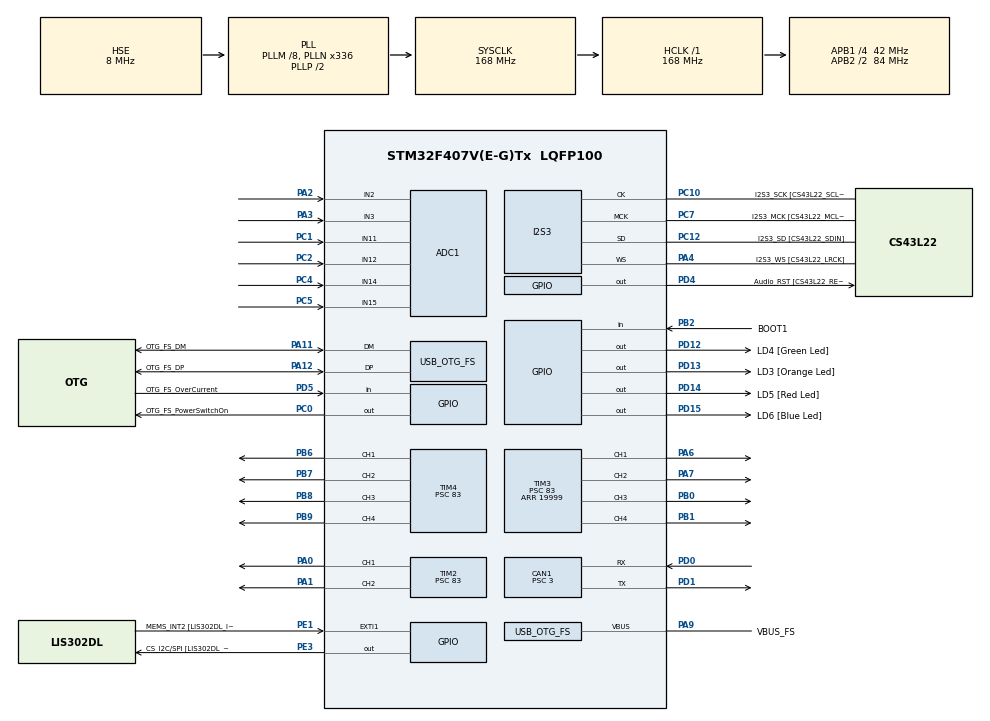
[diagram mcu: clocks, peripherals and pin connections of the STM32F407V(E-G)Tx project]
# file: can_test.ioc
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ADC1.Channel-0\#ChannelRegularConversion=ADC_CHANNEL_11
ADC1.NbrOfConversionFlag=1
ADC1.Rank-0\#ChannelRegularConversion=1
ADC1.SamplingTime-0\#ChannelRegularConversion=ADC_SAMPLETIME_3CYCLES
ADC1.master=1
CAN1.BS1=CAN_BS1_11TQ
CAN1.BS2=CAN_BS2_2TQ
CAN1.CalculateBaudRate=1000000
CAN1.CalculateTimeBit=1000
CAN1.CalculateTimeQuantum=71.42857142857143
CAN1.Prescaler=3
I2S3.AudioFreq-Half_Duplex_Master=I2S_AUDIOFREQ_96K
I2S3.ErrorAudioFreq=-2.34 %
I2S3.ErrorAudioFreq-Half_Duplex_Master=0.8 %
I2S3.FullDuplexMode=I2S_FULLDUPLEXMODE_DISABLE
I2S3.Instance=SPI$Index
I2S3.RealAudioFreq=93.75 KHz
I2S3.RealAudioFreq-Half_Duplex_Master=96.774 KHz
I2S3.VirtualMode=I2S_MODE_MASTER
Mcu.Family=STM32F4
Mcu.Name=STM32F407V(E-G)Tx
Mcu.Package=LQFP100
NVIC.CAN1_RX0_IRQn=true\:0\:0\:false\:false\:true\:true\:true\:true
NVIC.OTG_FS_IRQn=true\:0\:0\:false\:false\:true\:true\:true\:true
NVIC.PriorityGroup=NVIC_PRIORITYGROUP_0
PA0-WKUP.Signal=S_TIM2_CH1_ETR
PA1.Signal=S_TIM2_CH2
PA10.GPIO_Label=OTG_FS_ID
PA10.GPIO_Mode=GPIO_MODE_AF_PP
PA10.GPIO_PuPd=GPIO_NOPULL
PA10.GPIO_Speed=GPIO_SPEED_FREQ_LOW
PA10.Signal=USB_OTG_FS_ID
PA11.GPIO_Label=OTG_FS_DM
PA11.GPIO_Mode=GPIO_MODE_AF_PP
PA11.GPIO_PuPd=GPIO_NOPULL
PA11.GPIO_Speed=GPIO_SPEED_FREQ_LOW
PA11.Mode=Host_Only
PA11.Signal=USB_OTG_FS_DM
PA12.GPIO_Label=OTG_FS_DP
PA12.GPIO_Mode=GPIO_MODE_AF_PP
PA12.GPIO_PuPd=GPIO_NOPULL
PA12.GPIO_Speed=GPIO_SPEED_FREQ_LOW
PA12.Mode=Host_Only
PA12.Signal=USB_OTG_FS_DP
PA13.GPIO_Label=SWDIO
PA13.Mode=Serial_Wire
PA13.Signal=SYS_JTMS-SWDIO
PA14.GPIO_Label=SWCLK
PA14.Mode=Serial_Wire
PA14.Signal=SYS_JTCK-SWCLK
PA2.Signal=ADCx_IN2
PA3.Signal=ADCx_IN3
PA4.GPIO_Label=I2S3_WS [CS43L22_LRCK]
PA4.GPIO_Mode=GPIO_MODE_AF_PP
PA4.GPIO_PuPd=GPIO_NOPULL
PA4.GPIO_Speed=GPIO_SPEED_FREQ_LOW
PA4.Mode=Half_Duplex_Master
PA4.Signal=I2S3_WS
PA5.GPIO_Label=SPI1_SCK [LIS302DL_SCL/SPC]
PA5.GPIO_Mode=GPIO_MODE_AF_PP
PA5.GPIO_PuPd=GPIO_NOPULL
PA5.GPIO_Speed=GPIO_SPEED_FREQ_LOW
PA5.Signal=SPI1_SCK
PA6.Signal=S_TIM3_CH1
PA7.Signal=S_TIM3_CH2
PA9.GPIO_Label=VBUS_FS
PA9.GPIO_Mode=GPIO_MODE_INPUT
PA9.GPIO_PuPd=GPIO_NOPULL
PA9.Mode=Activate_VBUS
PA9.Signal=USB_OTG_FS_VBUS
PB0.Signal=S_TIM3_CH3
PB1.Signal=S_TIM3_CH4
PB10.GPIO_Label=CLK_IN [MP45DT02_CLK]
PB10.GPIO_Mode=GPIO_MODE_AF_PP
PB10.GPIO_PuPd=GPIO_NOPULL
PB10.GPIO_Speed=GPIO_SPEED_FREQ_LOW
PB10.Signal=I2S2_CK
PB2.GPIO_Label=BOOT1
PB2.GPIO_Mode=GPIO_MODE_INPUT
PB2.GPIO_PuPd=GPIO_NOPULL
PB2.Signal=GPIO_Input
PB3.GPIO_Label=SWO
PB3.Signal=SYS_JTDO-SWO
PB6.Signal=S_TIM4_CH1
PB7.Signal=S_TIM4_CH2
PB8.Signal=S_TIM4_CH3
PB9.Signal=S_TIM4_CH4
PC0.GPIO_Label=OTG_FS_PowerSwitchOn
PC0.GPIO_PuPd=GPIO_NOPULL
PC0.GPIO_Speed=GPIO_SPEED_FREQ_LOW
PC0.PinState=GPIO_PIN_SET
PC0.Signal=GPIO_Output
PC1.Signal=ADCx_IN11
PC10.GPIO_Label=I2S3_SCK [CS43L22_SCLK]
PC10.GPIO_Mode=GPIO_MODE_AF_PP
PC10.GPIO_PuPd=GPIO_NOPULL
PC10.GPIO_Speed=GPIO_SPEED_FREQ_LOW
PC10.Mode=Half_Duplex_Master
PC10.Signal=I2S3_CK
PC12.GPIO_Label=I2S3_SD [CS43L22_SDIN]
PC12.GPIO_Mode=GPIO_MODE_AF_PP
PC12.GPIO_PuPd=GPIO_NOPULL
PC12.GPIO_Speed=GPIO_SPEED_FREQ_LOW
PC12.Mode=Half_Duplex_Master
PC12.Signal=I2S3_SD
PC14-OSC32_IN.GPIO_Label=PC14-OSC32_IN
PC14-OSC32_IN.Mode=LSE-External-Oscillator
PC14-OSC32_IN.Signal=RCC_OSC32_IN
PC15-OSC32_OUT.GPIO_Label=PC15-OSC32_OUT
PC15-OSC32_OUT.Mode=LSE-External-Oscillator
PC15-OSC32_OUT.Signal=RCC_OSC32_OUT
PC2.Signal=ADCx_IN12
PC3.GPIO_Label=PDM_OUT [MP45DT02_DOUT]
PC3.GPIO_Mode=GPIO_MODE_AF_PP
PC3.GPIO_PuPd=GPIO_NOPULL
PC3.GPIO_Speed=GPIO_SPEED_FREQ_LOW
PC3.Signal=I2S2_SD
PC4.Signal=ADCx_IN14
PC5.Signal=ADCx_IN15
PC7.GPIO_Label=I2S3_MCK [CS43L22_MCLK]
PC7.GPIO_Mode=GPIO_MODE_AF_PP
PC7.GPIO_PuPd=GPIO_NOPULL
PC7.GPIO_Speed=GPIO_SPEED_FREQ_LOW
PC7.Mode=Master_Clock_Activated
PC7.Signal=I2S3_MCK
PD0.Mode=CAN_Activate
PD0.Signal=CAN1_RX
PD1.Mode=CAN_Activate
PD1.Signal=CAN1_TX
PD12.GPIO_Label=LD4 [Green Led]
PD12.GPIO_PuPd=GPIO_NOPULL
PD12.GPIO_Speed=GPIO_SPEED_FREQ_LOW
PD12.Signal=GPIO_Output
PD13.GPIO_Label=LD3 [Orange Led]
PD13.GPIO_PuPd=GPIO_NOPULL
PD13.GPIO_Speed=GPIO_SPEED_FREQ_LOW
PD13.Signal=GPIO_Output
PD14.GPIO_Label=LD5 [Red Led]
PD14.GPIO_PuPd=GPIO_NOPULL
PD14.GPIO_Speed=GPIO_SPEED_FREQ_LOW
PD14.Signal=GPIO_Output
PD15.GPIO_Label=LD6 [Blue Led]
PD15.GPIO_PuPd=GPIO_NOPULL
PD15.GPIO_Speed=GPIO_SPEED_FREQ_LOW
PD15.Signal=GPIO_Output
PD4.GPIO_Label=Audio_RST [CS43L22_RESET]
PD4.GPIO_PuPd=GPIO_NOPULL
PD4.GPIO_Speed=GPIO_SPEED_FREQ_LOW
PD4.Signal=GPIO_Output
PD5.GPIO_Label=OTG_FS_OverCurrent
PD5.GPIO_Mode=GPIO_MODE_INPUT
PD5.GPIO_PuPd=GPIO_NOPULL
PD5.Signal=GPIO_Input
PE1.GPIO_Label=MEMS_INT2 [LIS302DL_INT2]
PE1.GPIO_ModeDefaultEXTI=GPIO_MODE_EVT_RISING
PE1.GPIO_PuPd=GPIO_NOPULL
PE1.Signal=GPXTI1
PE3.GPIO_Label=CS_I2C/SPI [LIS302DL_CS_I2C/SPI]
PE3.GPIO_PuPd=GPIO_NOPULL
PE3.GPIO_Speed=GPIO_SPEED_FREQ_LOW
PE3.Signal=GPIO_Output
PH0-OSC_IN.GPIO_Label=PH0-OSC_IN
PH0-OSC_IN.Mode=HSE-External-Oscillator
PH0-OSC_IN.Signal=RCC_OSC_IN
PH1-OSC_OUT.GPIO_Label=PH1-OSC_OUT
PH1-OSC_OUT.Mode=HSE-External-Oscillator
PH1-OSC_OUT.Signal=RCC_OSC_OUT
ProjectManager.HeapSize=0x200
ProjectManager.StackSize=0x400
ProjectManager.TargetToolchain=STM32CubeIDE
RCC.48MHZClocksFreq_Value=48000000
RCC.AHBFreq_Value=168000000
RCC.APB1CLKDivider=RCC_HCLK_DIV4
RCC.APB1Freq_Value=42000000
RCC.APB1TimFreq_Value=84000000
RCC.APB2CLKDivider=RCC_HCLK_DIV2
RCC.APB2Freq_Value=84000000
RCC.APB2TimFreq_Value=168000000
RCC.CortexFreq_Value=168000000
RCC.HCLKFreq_Value=168000000
RCC.HSE_VALUE=8000000
RCC.HSI_VALUE=16000000
RCC.PLLM=8
RCC.PLLN=336
RCC.PLLQ=7
RCC.SYSCLKFreq_VALUE=168000000
RCC.SYSCLKSource=RCC_SYSCLKSOURCE_PLLCLK
RCC.VCOOutputFreq_Value=336000000
SH.ADCx_IN11.0=ADC1_IN11,IN11
SH.ADCx_IN12.0=ADC1_IN12,IN12
SH.ADCx_IN14.0=ADC1_IN14,IN14
SH.ADCx_IN15.0=ADC1_IN15,IN15
SH.ADCx_IN2.0=ADC1_IN2,IN2
SH.ADCx_IN3.0=ADC1_IN3,IN3
SH.S_TIM2_CH1_ETR.0=TIM2_CH1,PWM Generation1 CH1
SH.S_TIM2_CH2.0=TIM2_CH2,PWM Generation2 CH2
SH.S_TIM3_CH1.0=TIM3_CH1,PWM Generation1 CH1
SH.S_TIM3_CH2.0=TIM3_CH2,PWM Generation2 CH2
SH.S_TIM3_CH3.0=TIM3_CH3,PWM Generation3 CH3
SH.S_TIM3_CH4.0=TIM3_CH4,PWM Generation4 CH4
SH.S_TIM4_CH1.0=TIM4_CH1,PWM Generation1 CH1
SH.S_TIM4_CH2.0=TIM4_CH2,PWM Generation2 CH2
SH.S_TIM4_CH3.0=TIM4_CH3,PWM Generation3 CH3
SH.S_TIM4_CH4.0=TIM4_CH4,PWM Generation4 CH4
TIM2.Channel-PWM\ Generation1\ CH1=TIM_CHANNEL_1
TIM2.Channel-PWM\ Generation2\ CH2=TIM_CHANNEL_2
TIM2.Period=19999
TIM2.Prescaler=83
TIM3.Channel-PWM\ Generation1\ CH1=TIM_CHANNEL_1
TIM3.Channel-PWM\ Generation2\ CH2=TIM_CHANNEL_2
TIM3.Channel-PWM\ Generation3\ CH3=TIM_CHANNEL_3
TIM3.Channel-PWM\ Generation4\ CH4=TIM_CHANNEL_4
TIM3.Period=19999
TIM3.Prescaler=83
TIM4.Channel-PWM\ Generation1\ CH1=TIM_CHANNEL_1
TIM4.Channel-PWM\ Generation2\ CH2=TIM_CHANNEL_2
TIM4.Channel-PWM\ Generation3\ CH3=TIM_CHANNEL_3
TIM4.Channel-PWM\ Generation4\ CH4=TIM_CHANNEL_4
TIM4.Prescaler=83
USB_HOST.BSP.number=1
USB_HOST.USBH_HandleTypeDef-CDC_FS=hUsbHostFS
USB_HOST.VirtualModeFS=Cdc
USB_HOST0.BSP.STBoard=false
USB_HOST0.BSP.api=Unknown
USB_HOST0.BSP.instance=PC0
USB_HOST0.BSP.ip=GPIO
USB_HOST0.BSP.mode=Output
USB_HOST0.BSP.name=Drive_VBUS_FS
USB_HOST0.BSP.solution=PC0
USB_OTG_FS.VirtualMode=Host_Only
USB_OTG_FS.phy_itface=HCD_PHY_EMBEDDED
VP_USB_HOST_VS_USB_HOST_CDC_FS.Mode=CDC_FS
board=STM32F407G-DISC1

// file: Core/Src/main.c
/* USER CODE BEGIN Header */
/**
  ******************************************************************************
  * @file           : main.c
  * @brief          : Main program body
  ******************************************************************************
  * @attention
  *
  * Copyright (c) 2026 STMicroelectronics.
  * All rights reserved.
  *
  * This software is licensed under terms that can be found in the LICENSE file
  * in the root directory of this software component.
  * If no LICENSE file comes with this software, it is provided AS-IS.
  *
  ******************************************************************************
  */
/* USER CODE END Header */
#include "main.h"
#include "usb_host.h"

ADC_HandleTypeDef hadc1;

CAN_HandleTypeDef hcan1;

I2S_HandleTypeDef hi2s3;

TIM_HandleTypeDef htim2;
TIM_HandleTypeDef htim3;
TIM_HandleTypeDef htim4;

void SystemClock_Config(void);
static void MX_GPIO_Init(void);
static void MX_I2S3_Init(void);
static void MX_CAN1_Init(void);
static void MX_ADC1_Init(void);
static void MX_TIM2_Init(void);
static void MX_TIM3_Init(void);
static void MX_TIM4_Init(void);
void MX_USB_HOST_Process(void);

/* USER CODE BEGIN 0 */
CAN_FilterTypeDef sFilterConfig;
CAN_TxHeaderTypeDef TxMessage;
CAN_RxHeaderTypeDef RxMessage;
uint8_t               TxData[8];
uint8_t               RxData[8];
uint32_t              TxMailbox;

//main에서 1회 호출
void Can_Set(){
	sFilterConfig.FilterBank= 0;
	sFilterConfig.FilterMode= CAN_FILTERMODE_IDMASK;
	sFilterConfig.FilterScale= CAN_FILTERSCALE_32BIT;
	sFilterConfig.FilterIdHigh= 0x0000;
	sFilterConfig.FilterIdLow= 0x0000;
	sFilterConfig.FilterMaskIdHigh= 0x0000;
	sFilterConfig.FilterMaskIdLow= 0x0000;
	sFilterConfig.FilterFIFOAssignment= CAN_RX_FIFO0;
	sFilterConfig.FilterActivation= ENABLE;
	sFilterConfig.SlaveStartFilterBank = 14;
	HAL_CAN_ConfigFilter(&hcan1, &sFilterConfig);
	HAL_CAN_ActivateNotification(&hcan1, CAN_IT_RX_FIFO0_MSG_PENDING);
	HAL_CAN_Start(&hcan1);
}
//수신  (MX에서 인터럽트 설정 해야함)
void HAL_CAN_RxFifo0MsgPendingCallback(CAN_HandleTypeDef *hcan1)
{
	HAL_CAN_GetRxMessage(hcan1, CAN_RX_FIFO0, &RxMessage, RxData);

	//RxMessage.StdId : CAN ID
	//RxMessage.RTR : CAN_RTR_DATA or CAN_RTR_REMOTE
	//RxMessage.IDE : CAN_ID_STD or CAN_ID_EXT
	//RxMessage.DLC : length
	if(RxMessage.DLC ==  10 && RxData[9] == 15){
		HAL_GPIO_TogglePin(LD3_GPIO_Port,LD3_Pin);
		HAL_GPIO_TogglePin(LD4_GPIO_Port,LD4_Pin);
		HAL_GPIO_TogglePin(LD5_GPIO_Port,LD5_Pin);
		HAL_GPIO_TogglePin(LD6_GPIO_Port,LD6_Pin);
	}
	//RxData : data

}

/* USER CODE END 0 */

int main(void)
{

  /* MCU Configuration--------------------------------------------------------*/

  /* Reset of all peripherals, Initializes the Flash interface and the Systick. */
  HAL_Init();

  /* Configure the system clock */
  SystemClock_Config();

  /* Initialize all configured peripherals */
  MX_GPIO_Init();
  MX_I2S3_Init();
  MX_USB_HOST_Init();
  MX_CAN1_Init();
  MX_ADC1_Init();
  MX_TIM2_Init();
  MX_TIM3_Init();
  MX_TIM4_Init();
  /* USER CODE BEGIN 2 */
  Can_Set();

  /* USER CODE END 2 */

  /* Infinite loop */
  /* USER CODE BEGIN WHILE */
  while (1)
  {
	  TxMessage.DLC = 8; //데이터길이
	 	  TxMessage.ExtId = 0;
	 	  TxMessage.IDE = CAN_ID_STD;
	 	  TxMessage.RTR = CAN_RTR_DATA;
	 	  TxMessage.StdId = 0x123; //0x000 ~ 0x7FF
	 	  TxMessage.TransmitGlobalTime = DISABLE;
	 	  TxData[0] = 1;
	 	  TxData[1] = 2;
	 	  TxData[2] = 3;
	 	  TxData[3] = 4;
	 	  TxData[5] = 5;
	 	  TxData[6] = 6;
	 	  TxData[7] = 7;
	 	  HAL_CAN_AddTxMessage(&hcan1, &TxMessage, TxData, &TxMailbox);
	 	  HAL_Delay(1000);

    /* USER CODE END WHILE */
    MX_USB_HOST_Process();

  }
}

void SystemClock_Config(void)
{
  RCC_OscInitTypeDef RCC_OscInitStruct = {0};
  RCC_ClkInitTypeDef RCC_ClkInitStruct = {0};

  /** Configure the main internal regulator output voltage
  */
  __HAL_RCC_PWR_CLK_ENABLE();
  __HAL_PWR_VOLTAGESCALING_CONFIG(PWR_REGULATOR_VOLTAGE_SCALE1);

  /** Initializes the RCC Oscillators according to the specified parameters
  * in the RCC_OscInitTypeDef structure.
  */
  RCC_OscInitStruct.OscillatorType = RCC_OSCILLATORTYPE_HSE;
  RCC_OscInitStruct.HSEState = RCC_HSE_ON;
  RCC_OscInitStruct.PLL.PLLState = RCC_PLL_ON;
  RCC_OscInitStruct.PLL.PLLSource = RCC_PLLSOURCE_HSE;
  RCC_OscInitStruct.PLL.PLLM = 8;
  RCC_OscInitStruct.PLL.PLLN = 336;
  RCC_OscInitStruct.PLL.PLLP = RCC_PLLP_DIV2;
  RCC_OscInitStruct.PLL.PLLQ = 7;
  if (HAL_RCC_OscConfig(&RCC_OscInitStruct) != HAL_OK)
  {
    Error_Handler();
  }

  /** Initializes the CPU, AHB and APB buses clocks
  */
  RCC_ClkInitStruct.ClockType = RCC_CLOCKTYPE_HCLK|RCC_CLOCKTYPE_SYSCLK
                              |RCC_CLOCKTYPE_PCLK1|RCC_CLOCKTYPE_PCLK2;
  RCC_ClkInitStruct.SYSCLKSource = RCC_SYSCLKSOURCE_PLLCLK;
  RCC_ClkInitStruct.AHBCLKDivider = RCC_SYSCLK_DIV1;
  RCC_ClkInitStruct.APB1CLKDivider = RCC_HCLK_DIV4;
  RCC_ClkInitStruct.APB2CLKDivider = RCC_HCLK_DIV2;

  if (HAL_RCC_ClockConfig(&RCC_ClkInitStruct, FLASH_LATENCY_5) != HAL_OK)
  {
    Error_Handler();
  }
}

static void MX_ADC1_Init(void)
{

  ADC_ChannelConfTypeDef sConfig = {0};

  /** Configure the global features of the ADC (Clock, Resolution, Data Alignment and number of conversion)
  */
  hadc1.Instance = ADC1;
  hadc1.Init.ClockPrescaler = ADC_CLOCK_SYNC_PCLK_DIV4;
  hadc1.Init.Resolution = ADC_RESOLUTION_12B;
  hadc1.Init.ScanConvMode = DISABLE;
  hadc1.Init.ContinuousConvMode = DISABLE;
  hadc1.Init.DiscontinuousConvMode = DISABLE;
  hadc1.Init.ExternalTrigConvEdge = ADC_EXTERNALTRIGCONVEDGE_NONE;
  hadc1.Init.ExternalTrigConv = ADC_SOFTWARE_START;
  hadc1.Init.DataAlign = ADC_DATAALIGN_RIGHT;
  hadc1.Init.NbrOfConversion = 1;
  hadc1.Init.DMAContinuousRequests = DISABLE;
  hadc1.Init.EOCSelection = ADC_EOC_SINGLE_CONV;
  if (HAL_ADC_Init(&hadc1) != HAL_OK)
  {
    Error_Handler();
  }

  /** Configure for the selected ADC regular channel its corresponding rank in the sequencer and its sample time.
  */
  sConfig.Channel = ADC_CHANNEL_11;
  sConfig.Rank = 1;
  sConfig.SamplingTime = ADC_SAMPLETIME_3CYCLES;
  if (HAL_ADC_ConfigChannel(&hadc1, &sConfig) != HAL_OK)
  {
    Error_Handler();
  }

}

static void MX_CAN1_Init(void)
{

  hcan1.Instance = CAN1;
  hcan1.Init.Prescaler = 3;
  hcan1.Init.Mode = CAN_MODE_NORMAL;
  hcan1.Init.SyncJumpWidth = CAN_SJW_1TQ;
  hcan1.Init.TimeSeg1 = CAN_BS1_11TQ;
  hcan1.Init.TimeSeg2 = CAN_BS2_2TQ;
  hcan1.Init.TimeTriggeredMode = DISABLE;
  hcan1.Init.AutoBusOff = DISABLE;
  hcan1.Init.AutoWakeUp = DISABLE;
  hcan1.Init.AutoRetransmission = DISABLE;
  hcan1.Init.ReceiveFifoLocked = DISABLE;
  hcan1.Init.TransmitFifoPriority = DISABLE;
  if (HAL_CAN_Init(&hcan1) != HAL_OK)
  {
    Error_Handler();
  }

}

static void MX_I2S3_Init(void)
{

  hi2s3.Instance = SPI3;
  hi2s3.Init.Mode = I2S_MODE_MASTER_TX;
  hi2s3.Init.Standard = I2S_STANDARD_PHILIPS;
  hi2s3.Init.DataFormat = I2S_DATAFORMAT_16B;
  hi2s3.Init.MCLKOutput = I2S_MCLKOUTPUT_ENABLE;
  hi2s3.Init.AudioFreq = I2S_AUDIOFREQ_96K;
  hi2s3.Init.CPOL = I2S_CPOL_LOW;
  hi2s3.Init.ClockSource = I2S_CLOCK_PLL;
  hi2s3.Init.FullDuplexMode = I2S_FULLDUPLEXMODE_DISABLE;
  if (HAL_I2S_Init(&hi2s3) != HAL_OK)
  {
    Error_Handler();
  }

}

static void MX_TIM2_Init(void)
{

  TIM_MasterConfigTypeDef sMasterConfig = {0};
  TIM_OC_InitTypeDef sConfigOC = {0};

  htim2.Instance = TIM2;
  htim2.Init.Prescaler = 83;
  htim2.Init.CounterMode = TIM_COUNTERMODE_UP;
  htim2.Init.Period = 19999;
  htim2.Init.ClockDivision = TIM_CLOCKDIVISION_DIV1;
  htim2.Init.AutoReloadPreload = TIM_AUTORELOAD_PRELOAD_DISABLE;
  if (HAL_TIM_PWM_Init(&htim2) != HAL_OK)
  {
    Error_Handler();
  }
  sMasterConfig.MasterOutputTrigger = TIM_TRGO_RESET;
  sMasterConfig.MasterSlaveMode = TIM_MASTERSLAVEMODE_DISABLE;
  if (HAL_TIMEx_MasterConfigSynchronization(&htim2, &sMasterConfig) != HAL_OK)
  {
    Error_Handler();
  }
  sConfigOC.OCMode = TIM_OCMODE_PWM1;
  sConfigOC.Pulse = 0;
  sConfigOC.OCPolarity = TIM_OCPOLARITY_HIGH;
  sConfigOC.OCFastMode = TIM_OCFAST_DISABLE;
  if (HAL_TIM_PWM_ConfigChannel(&htim2, &sConfigOC, TIM_CHANNEL_1) != HAL_OK)
  {
    Error_Handler();
  }
  if (HAL_TIM_PWM_ConfigChannel(&htim2, &sConfigOC, TIM_CHANNEL_2) != HAL_OK)
  {
    Error_Handler();
  }
  HAL_TIM_MspPostInit(&htim2);

}

static void MX_TIM3_Init(void)
{

  TIM_MasterConfigTypeDef sMasterConfig = {0};
  TIM_OC_InitTypeDef sConfigOC = {0};

  htim3.Instance = TIM3;
  htim3.Init.Prescaler = 83;
  htim3.Init.CounterMode = TIM_COUNTERMODE_UP;
  htim3.Init.Period = 19999;
  htim3.Init.ClockDivision = TIM_CLOCKDIVISION_DIV1;
  htim3.Init.AutoReloadPreload = TIM_AUTORELOAD_PRELOAD_DISABLE;
  if (HAL_TIM_PWM_Init(&htim3) != HAL_OK)
  {
    Error_Handler();
  }
  sMasterConfig.MasterOutputTrigger = TIM_TRGO_RESET;
  sMasterConfig.MasterSlaveMode = TIM_MASTERSLAVEMODE_DISABLE;
  if (HAL_TIMEx_MasterConfigSynchronization(&htim3, &sMasterConfig) != HAL_OK)
  {
    Error_Handler();
  }
  sConfigOC.OCMode = TIM_OCMODE_PWM1;
  sConfigOC.Pulse = 0;
  sConfigOC.OCPolarity = TIM_OCPOLARITY_HIGH;
  sConfigOC.OCFastMode = TIM_OCFAST_DISABLE;
  if (HAL_TIM_PWM_ConfigChannel(&htim3, &sConfigOC, TIM_CHANNEL_1) != HAL_OK)
  {
    Error_Handler();
  }
  if (HAL_TIM_PWM_ConfigChannel(&htim3, &sConfigOC, TIM_CHANNEL_2) != HAL_OK)
  {
    Error_Handler();
  }
  if (HAL_TIM_PWM_ConfigChannel(&htim3, &sConfigOC, TIM_CHANNEL_3) != HAL_OK)
  {
    Error_Handler();
  }
  if (HAL_TIM_PWM_ConfigChannel(&htim3, &sConfigOC, TIM_CHANNEL_4) != HAL_OK)
  {
    Error_Handler();
  }
  HAL_TIM_MspPostInit(&htim3);

}

static void MX_TIM4_Init(void)
{

  TIM_MasterConfigTypeDef sMasterConfig = {0};
  TIM_OC_InitTypeDef sConfigOC = {0};

  htim4.Instance = TIM4;
  htim4.Init.Prescaler = 83;
  htim4.Init.CounterMode = TIM_COUNTERMODE_UP;
  htim4.Init.Period = 19999;
  htim4.Init.ClockDivision = TIM_CLOCKDIVISION_DIV1;
  htim4.Init.AutoReloadPreload = TIM_AUTORELOAD_PRELOAD_DISABLE;
  if (HAL_TIM_PWM_Init(&htim4) != HAL_OK)
  {
    Error_Handler();
  }
  sMasterConfig.MasterOutputTrigger = TIM_TRGO_RESET;
  sMasterConfig.MasterSlaveMode = TIM_MASTERSLAVEMODE_DISABLE;
  if (HAL_TIMEx_MasterConfigSynchronization(&htim4, &sMasterConfig) != HAL_OK)
  {
    Error_Handler();
  }
  sConfigOC.OCMode = TIM_OCMODE_PWM1;
  sConfigOC.Pulse = 0;
  sConfigOC.OCPolarity = TIM_OCPOLARITY_HIGH;
  sConfigOC.OCFastMode = TIM_OCFAST_DISABLE;
  if (HAL_TIM_PWM_ConfigChannel(&htim4, &sConfigOC, TIM_CHANNEL_1) != HAL_OK)
  {
    Error_Handler();
  }
  if (HAL_TIM_PWM_ConfigChannel(&htim4, &sConfigOC, TIM_CHANNEL_2) != HAL_OK)
  {
    Error_Handler();
  }
  if (HAL_TIM_PWM_ConfigChannel(&htim4, &sConfigOC, TIM_CHANNEL_3) != HAL_OK)
  {
    Error_Handler();
  }
  if (HAL_TIM_PWM_ConfigChannel(&htim4, &sConfigOC, TIM_CHANNEL_4) != HAL_OK)
  {
    Error_Handler();
  }
  HAL_TIM_MspPostInit(&htim4);

}

static void MX_GPIO_Init(void)
{
  GPIO_InitTypeDef GPIO_InitStruct = {0};

  /* GPIO Ports Clock Enable */
  __HAL_RCC_GPIOE_CLK_ENABLE();
  __HAL_RCC_GPIOC_CLK_ENABLE();
  __HAL_RCC_GPIOH_CLK_ENABLE();
  __HAL_RCC_GPIOA_CLK_ENABLE();
  __HAL_RCC_GPIOB_CLK_ENABLE();
  __HAL_RCC_GPIOD_CLK_ENABLE();

  /*Configure GPIO pin Output Level */
  HAL_GPIO_WritePin(CS_I2C_SPI_GPIO_Port, CS_I2C_SPI_Pin, GPIO_PIN_RESET);

  /*Configure GPIO pin Output Level */
  HAL_GPIO_WritePin(OTG_FS_PowerSwitchOn_GPIO_Port, OTG_FS_PowerSwitchOn_Pin, GPIO_PIN_SET);

  /*Configure GPIO pin Output Level */
  HAL_GPIO_WritePin(GPIOD, LD4_Pin|LD3_Pin|LD5_Pin|LD6_Pin
                          |Audio_RST_Pin, GPIO_PIN_RESET);

  /*Configure GPIO pin : CS_I2C_SPI_Pin */
  GPIO_InitStruct.Pin = CS_I2C_SPI_Pin;
  GPIO_InitStruct.Mode = GPIO_MODE_OUTPUT_PP;
  GPIO_InitStruct.Pull = GPIO_NOPULL;
  GPIO_InitStruct.Speed = GPIO_SPEED_FREQ_LOW;
  HAL_GPIO_Init(CS_I2C_SPI_GPIO_Port, &GPIO_InitStruct);

  /*Configure GPIO pin : OTG_FS_PowerSwitchOn_Pin */
  GPIO_InitStruct.Pin = OTG_FS_PowerSwitchOn_Pin;
  GPIO_InitStruct.Mode = GPIO_MODE_OUTPUT_PP;
  GPIO_InitStruct.Pull = GPIO_NOPULL;
  GPIO_InitStruct.Speed = GPIO_SPEED_FREQ_LOW;
  HAL_GPIO_Init(OTG_FS_PowerSwitchOn_GPIO_Port, &GPIO_InitStruct);

  /*Configure GPIO pin : PDM_OUT_Pin */
  GPIO_InitStruct.Pin = PDM_OUT_Pin;
  GPIO_InitStruct.Mode = GPIO_MODE_AF_PP;
  GPIO_InitStruct.Pull = GPIO_NOPULL;
  GPIO_InitStruct.Speed = GPIO_SPEED_FREQ_LOW;
  GPIO_InitStruct.Alternate = GPIO_AF5_SPI2;
  HAL_GPIO_Init(PDM_OUT_GPIO_Port, &GPIO_InitStruct);

  /*Configure GPIO pin : SPI1_SCK_Pin */
  GPIO_InitStruct.Pin = SPI1_SCK_Pin;
  GPIO_InitStruct.Mode = GPIO_MODE_AF_PP;
  GPIO_InitStruct.Pull = GPIO_NOPULL;
  GPIO_InitStruct.Speed = GPIO_SPEED_FREQ_LOW;
  GPIO_InitStruct.Alternate = GPIO_AF5_SPI1;
  HAL_GPIO_Init(SPI1_SCK_GPIO_Port, &GPIO_InitStruct);

  /*Configure GPIO pin : BOOT1_Pin */
  GPIO_InitStruct.Pin = BOOT1_Pin;
  GPIO_InitStruct.Mode = GPIO_MODE_INPUT;
  GPIO_InitStruct.Pull = GPIO_NOPULL;
  HAL_GPIO_Init(BOOT1_GPIO_Port, &GPIO_InitStruct);

  /*Configure GPIO pin : CLK_IN_Pin */
  GPIO_InitStruct.Pin = CLK_IN_Pin;
  GPIO_InitStruct.Mode = GPIO_MODE_AF_PP;
  GPIO_InitStruct.Pull = GPIO_NOPULL;
  GPIO_InitStruct.Speed = GPIO_SPEED_FREQ_LOW;
  GPIO_InitStruct.Alternate = GPIO_AF5_SPI2;
  HAL_GPIO_Init(CLK_IN_GPIO_Port, &GPIO_InitStruct);

  /*Configure GPIO pins : LD4_Pin LD3_Pin LD5_Pin LD6_Pin
                           Audio_RST_Pin */
  GPIO_InitStruct.Pin = LD4_Pin|LD3_Pin|LD5_Pin|LD6_Pin
                          |Audio_RST_Pin;
  GPIO_InitStruct.Mode = GPIO_MODE_OUTPUT_PP;
  GPIO_InitStruct.Pull = GPIO_NOPULL;
  GPIO_InitStruct.Speed = GPIO_SPEED_FREQ_LOW;
  HAL_GPIO_Init(GPIOD, &GPIO_InitStruct);

  /*Configure GPIO pin : OTG_FS_OverCurrent_Pin */
  GPIO_InitStruct.Pin = OTG_FS_OverCurrent_Pin;
  GPIO_InitStruct.Mode = GPIO_MODE_INPUT;
  GPIO_InitStruct.Pull = GPIO_NOPULL;
  HAL_GPIO_Init(OTG_FS_OverCurrent_GPIO_Port, &GPIO_InitStruct);

  /*Configure GPIO pin : MEMS_INT2_Pin */
  GPIO_InitStruct.Pin = MEMS_INT2_Pin;
  GPIO_InitStruct.Mode = GPIO_MODE_EVT_RISING;
  GPIO_InitStruct.Pull = GPIO_NOPULL;
  HAL_GPIO_Init(MEMS_INT2_GPIO_Port, &GPIO_InitStruct);

}

void Error_Handler(void)
{
  __disable_irq();
  while (1)
  {
  }
}
